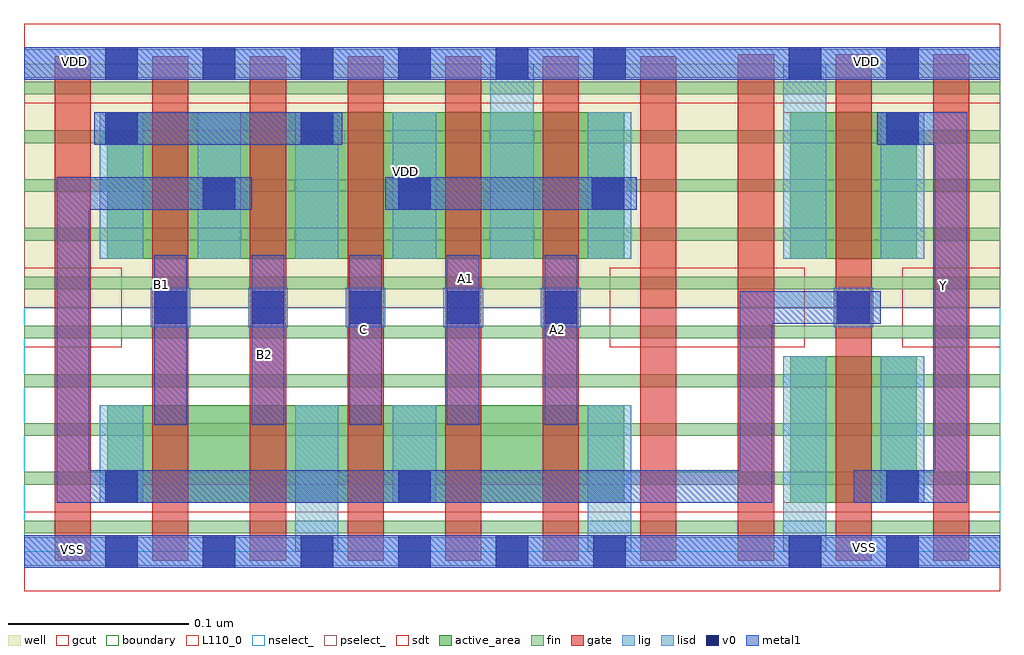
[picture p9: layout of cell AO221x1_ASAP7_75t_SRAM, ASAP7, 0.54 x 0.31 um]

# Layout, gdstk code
import gdstk
lib = gdstk.Library(unit=1e-6, precision=1e-09)
def R(c, l, rs):  # rectangles x0, y0, x1, y1
    for r in rs: c.add(gdstk.rectangle(r[:2], r[2:], *l))
def A(c, l, x, y, w, h, nx, ny, dx, dy):  # array of equal rectangles
    R(c, l, [(x+i*dx, y+j*dy, x+i*dx+w, y+j*dy+h) for i in range(nx) for j in range(ny)])
def P(c, l, *ps):  # polygons
    for p in ps: c.add(gdstk.Polygon(p, *l))
well = (1, 0)
fin = (2, 0)
gate = (7, 0)
gcut = (10, 0)
active_area = (11, 0)
nselect_ = (12, 0)
pselect_ = (13, 0)
lig = (16, 0)
lisd = (17, 0)
v0 = (18, 0)
metal1 = (19, 0)
sdt = (88, 0)
boundary = (100, 0)
L110_0 = (110, 0)

ao221x1_asap7_75t_sram = lib.new_cell('AO221x1_ASAP7_75t_SRAM')
R(ao221x1_asap7_75t_sram, well, [(0,0.135,0.54,0.27)])
A(ao221x1_asap7_75t_sram, fin, 0, 0.01, 0.54, 0.007, 1, 10, 0, 0.027)
A(ao221x1_asap7_75t_sram, gate, 0.017, -0.005, 0.02, 0.279, 7, 1, 0.054, 0)
A(ao221x1_asap7_75t_sram, gate, 0.395, -0.005, 0.02, 0.28, 3, 1, 0.054, 0)
R(ao221x1_asap7_75t_sram, gate, [(0.503,-0.005,0.523,0.275)])
R(ao221x1_asap7_75t_sram, gcut, [(0,-0.022,0.54,0.022), (0,0.113,0.054,0.157), (0.324,0.113,0.432,0.157), (0.486,0.113,0.54,0.157), (0,0.248,0.54,0.292)])
R(ao221x1_asap7_75t_sram, active_area, [(0.046,0.027,0.332,0.081), (0.424,0.027,0.494,0.108), (0.046,0.162,0.332,0.243), (0.424,0.162,0.494,0.243)])
R(ao221x1_asap7_75t_sram, nselect_, [(0,0,0.54,0.135)])
R(ao221x1_asap7_75t_sram, pselect_, [(0,0.135,0.54,0.27)])
A(ao221x1_asap7_75t_sram, lig, 0.07, 0.124, 0.022, 0.022, 5, 1, 0.054, 0)
R(ao221x1_asap7_75t_sram, lig, [(0,-0.008,0.54,0.008), (0.448,0.124,0.47,0.146), (0,0.262,0.54,0.278)])
A(ao221x1_asap7_75t_sram, lisd, 0.042, 0.162, 0.024, 0.081, 4, 1, 0.054, 0)
R(ao221x1_asap7_75t_sram, lisd, [(0.15,0,0.174,0.081), (0.312,0,0.336,0.081), (0.42,0,0.444,0.108), (0.042,0.027,0.066,0.081), (0.204,0.027,0.228,0.081), (0.474,0.027,0.498,0.108), (0.258,0.162,0.282,0.27), (0.312,0.162,0.336,0.243), (0.42,0.162,0.444,0.27), (0.474,0.162,0.498,0.243)])
A(ao221x1_asap7_75t_sram, v0, 0.045, -0.009, 0.018, 0.018, 6, 2, 0.054, 0.27)
A(ao221x1_asap7_75t_sram, v0, 0.072, 0.126, 0.018, 0.018, 5, 1, 0.054, 0)
R(ao221x1_asap7_75t_sram, v0, [(0.423,-0.009,0.441,0.009), (0.477,-0.009,0.495,0.009), (0.477,-0.009,0.495,0.009), (0.045,0.027,0.063,0.045), (0.207,0.027,0.225,0.045), (0.477,0.027,0.495,0.045), (0.45,0.126,0.468,0.144), (0.099,0.189,0.117,0.207), (0.207,0.189,0.225,0.207), (0.314,0.189,0.332,0.207), (0.045,0.225,0.063,0.243), (0.153,0.225,0.171,0.243), (0.477,0.225,0.495,0.243), (0.423,0.261,0.441,0.279), (0.477,0.261,0.495,0.279), (0.477,0.261,0.495,0.279)])
A(ao221x1_asap7_75t_sram, metal1, 0.072, 0.07, 0.018, 0.094, 5, 1, 0.054, 0)
R(ao221x1_asap7_75t_sram, metal1, [(0,-0.009,0.54,0.009), (0.2,0.189,0.339,0.207), (0.039,0.225,0.176,0.243), (0,0.261,0.54,0.279)])
P(ao221x1_asap7_75t_sram, metal1, [(0.522,0.243),(0.472,0.243),(0.472,0.225),(0.504,0.225),(0.504,0.045),(0.459,0.045),(0.459,0.027),(0.522,0.027)],
  [(0.474,0.144),(0.396,0.144),(0.396,0.045),(0.036,0.045),(0.036,0.189),(0.126,0.189),(0.126,0.207),(0.018,0.207),(0.018,0.027),(0.414,0.027),(0.414,0.126),(0.474,0.126)])
A(ao221x1_asap7_75t_sram, sdt, 0.042, 0.162, 0.024, 0.081, 6, 1, 0.054, 0)
R(ao221x1_asap7_75t_sram, sdt, [(0.042,0.027,0.066,0.081), (0.15,0.027,0.174,0.081), (0.204,0.027,0.228,0.081), (0.312,0.027,0.336,0.081), (0.42,0.027,0.444,0.108), (0.474,0.027,0.498,0.108), (0.474,0.027,0.498,0.108), (0.42,0.162,0.444,0.243), (0.474,0.162,0.498,0.243), (0.474,0.162,0.498,0.243)])
R(ao221x1_asap7_75t_sram, boundary, [(0,0,0.54,0.27)])
R(ao221x1_asap7_75t_sram, L110_0, [(0,0,0.54,0.27)])
ao221x1_asap7_75t_sram.add(gdstk.Label('VSS', (0.238,-0.057), layer=3, texttype=251))
ao221x1_asap7_75t_sram.add(gdstk.Label('VDD', (0.211,0.21), layer=1, texttype=251))
ao221x1_asap7_75t_sram.add(gdstk.Label('A1', (0.244,0.151), layer=19, texttype=251))
ao221x1_asap7_75t_sram.add(gdstk.Label('VSS', (0.465,0.002), layer=19, texttype=251))
ao221x1_asap7_75t_sram.add(gdstk.Label('C', (0.188,0.123), layer=19, texttype=251))
ao221x1_asap7_75t_sram.add(gdstk.Label('B2', (0.133,0.109), layer=19, texttype=251))
ao221x1_asap7_75t_sram.add(gdstk.Label('B1', (0.076,0.148), layer=19, texttype=251))
ao221x1_asap7_75t_sram.add(gdstk.Label('A2', (0.295,0.123), layer=19, texttype=251))
ao221x1_asap7_75t_sram.add(gdstk.Label('VDD', (0.028,0.271), layer=19, texttype=251))
ao221x1_asap7_75t_sram.add(gdstk.Label('VSS', (0.027,0.001), layer=19, texttype=251))
ao221x1_asap7_75t_sram.add(gdstk.Label('VDD', (0.466,0.271), layer=19, texttype=251))
ao221x1_asap7_75t_sram.add(gdstk.Label('Y', (0.509,0.147), layer=19, texttype=251))

lib.write_gds('AO221x1_ASAP7_75t_SRAM.gds')
